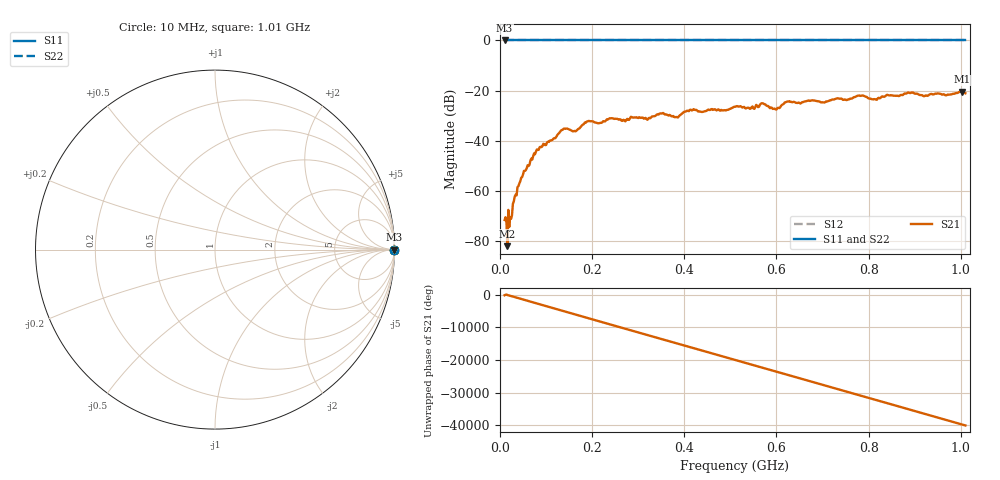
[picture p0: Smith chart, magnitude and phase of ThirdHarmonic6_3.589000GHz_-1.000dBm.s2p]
! 8/17/2025 11:56:21 AM
! C:\ANRITSUVNA\TEMP\TEMP.S2P
! CHANNEL.1
! TR.MEASUREMENT
! RAW.DATA
! RF.CORRECTION.OFF
! AVERAGING.OFF
! IF.BANDWIDTH: 5KHZ
! SWEEPTYPE:  FREQ.SWEEP(Linear)
! Reference Plane Port Info
! PORT:  PORT1  PORT2
! DISTANCE:  0  m  0  m
! TIME:  0  s  0  s
! PHASE.OFFSET:  0  deg.  0  deg.
! LOSS:  0  dB  0  dB
! REF.LOSS:  0  dB  0  dB
! REF.FREQ:  0  Hz  0  Hz
! Power Info
! POWER:  -20  dBm  -20  dBm
! EFF.POWER:  -20  dBm  -20  dBm
! SOURCE.ATTEN:  0  dB  0  dB
! TEST.ATTEN:  0  dB  0  dB
# GHZ S RI R 50.0
! FREQ.GHZ  S11RE  S11IM  S21RE  S21IM  S12RE  S12IM  S22RE  S22IM
!; PortSelection: Port_12
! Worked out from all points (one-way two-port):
!   501 points, 10 MHz to 1.01 GHz, reference 50 ohm
!   highest |S21| = -20.38 dB at 1.002 GHz (marker M1); lowest = -82.0 dB at 16 MHz (marker M2)
!   lowest |S11| = 0.0 dB at 10 MHz (marker M3)
!   |S11| at or under -10 dB: nowhere
!   |S22| runs from 0.0 to 0.0 dB; largest |S21 - S12| = 1.1
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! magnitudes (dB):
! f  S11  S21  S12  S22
! 10 MHz  0.0  -71.6  0.0  0.0
! 16 MHz  0.0  -82.0  0.0  0.0
! 20 MHz  0.0  -74.4  0.0  0.0
! 42 MHz  0.0  -57.0  0.0  0.0
! 78 MHz  0.0  -44.3  0.0  0.0
! 136 MHz  0.0  -35.6  0.0  0.0
! 162 MHz  0.0  -36.1  0.0  0.0
! 178 MHz  0.0  -33.8  0.0  0.0
! 192 MHz  0.0  -32.1  0.0  0.0
! 322 MHz  0.0  -31.1  0.0  0.0
! 344 MHz  0.0  -29.6  0.0  0.0
! 382 MHz  0.0  -30.5  0.0  0.0
! 416 MHz  0.0  -27.9  0.0  0.0
! 510 MHz  0.0  -26.4  0.0  0.0
! 570 MHz  0.0  -25.1  0.0  0.0
! 596 MHz  0.0  -27.2  0.0  0.0
! 624 MHz  0.0  -24.3  0.0  0.0
! 678 MHz  0.0  -23.8  0.0  0.0
! 814 MHz  0.0  -23.4  0.0  0.0
! 844 MHz  0.0  -21.9  0.0  0.0
! 1.002 GHz  0.0  -20.4  0.0  0.0
! 1.01 GHz  0.0  -21.1  0.0  0.0
